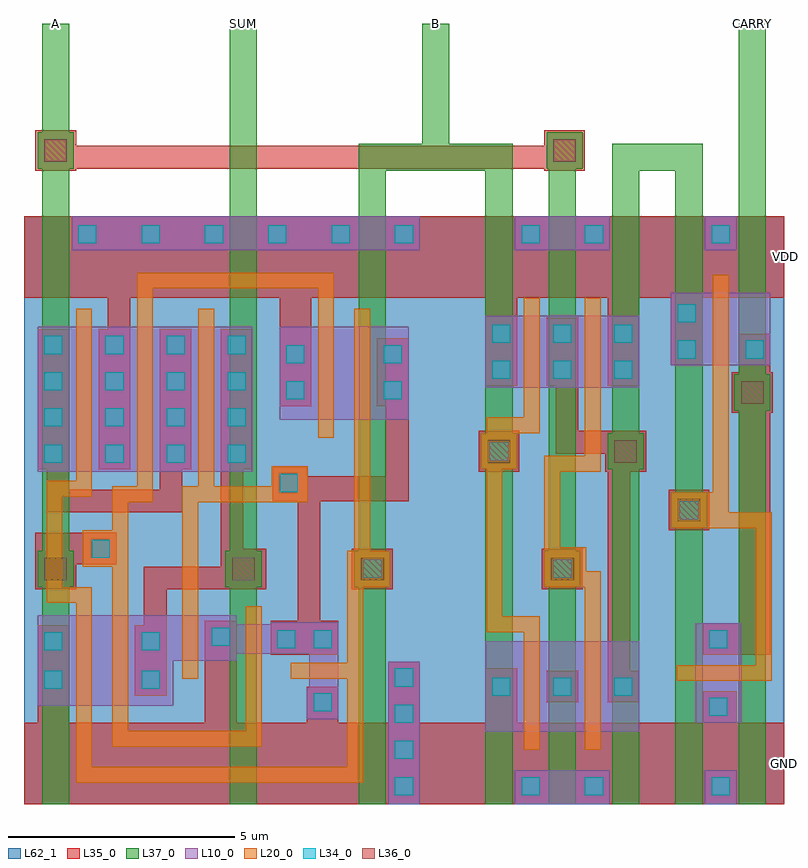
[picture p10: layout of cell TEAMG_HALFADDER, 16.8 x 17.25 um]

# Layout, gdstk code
import gdstk
lib = gdstk.Library(unit=1e-6, precision=1e-09)
def R(c, l, rs):  # rectangles x0, y0, x1, y1
    for r in rs: c.add(gdstk.rectangle(r[:2], r[2:], *l))
def A(c, l, x, y, w, h, nx, ny, dx, dy):  # array of equal rectangles
    R(c, l, [(x+i*dx, y+j*dy, x+i*dx+w, y+j*dy+h) for i in range(nx) for j in range(ny)])
def P(c, l, *ps):  # polygons
    for p in ps: c.add(gdstk.Polygon(p, *l))
L10_0 = (10, 0)
L20_0 = (20, 0)
L34_0 = (34, 0)
L35_0 = (35, 0)
L36_0 = (36, 0)
L37_0 = (37, 0)
L62_1 = (62, 1)

via1 = lib.new_cell('VIA1')
R(via1, L35_0, [(-0.45,-0.45,0.45,0.45)])
R(via1, L36_0, [(-0.25,-0.25,0.25,0.25)])
R(via1, L37_0, [(-0.4,-0.4,0.4,0.4)])

inv1_h = lib.new_cell('INV1_H')
R(inv1_h, L10_0, [(1.05,0,1.75,0.75), (0.85,1.8,1.85,4), (0.3,9.7,2.5,11.3), (1.05,12.25,1.75,13)])
P(inv1_h, L20_0, [(2.525,6.45),(1.575,6.45),(1.575,11.7),(1.225,11.7),(1.225,6.9),(0.3,6.9),(0.3,6.1),(2.175,6.1),(2.175,3.075),(0.425,3.075),(0.425,2.725),(2.525,2.725)])
R(inv1_h, L34_0, [(1.2,0.2,1.6,0.6), (1.15,1.95,1.55,2.35), (1.15,3.45,1.55,3.85), (0.5,6.3,0.9,6.7), (0.45,9.85,0.85,10.25), (1.95,9.85,2.35,10.25), (0.45,10.65,0.85,11.05), (1.2,12.4,1.6,12.8)])
R(inv1_h, L35_0, [(0,0,2.8,1.8), (0.25,6.05,1.15,6.95), (0.25,6.05,1.15,6.95), (1.65,8.65,2.55,9.55), (0,11.2,2.8,13)])
P(inv1_h, L35_0, [(2.8,1.8),(1.75,1.8),(1.75,2.5),(1,2.5),(1,1.8),(0,1.8),(0,0),(2.8,0)],
  [(2.55,9.55),(2.5,9.55),(2.5,10.4),(1.8,10.4),(1.8,9.55),(1.65,9.55),(1.65,8.65),(1.8,8.65),(1.8,4),(1,4),(1,3.3),(2.5,3.3),(2.5,8.65),(2.55,8.65)],
  [(2.8,13),(0,13),(0,11.2),(0.3,11.2),(0.3,9.7),(1,9.7),(1,11.2),(2.8,11.2)])
R(inv1_h, L36_0, [(0.45,6.25,0.95,6.75), (1.85,8.85,2.35,9.35)])
R(inv1_h, L37_0, [(0.4,0,1,13), (1.8,0,2.4,13), (0.3,6.1,1.1,6.9), (1.7,8.7,2.5,9.5)])
R(inv1_h, L62_1, [(0,0,2.8,13)])
inv1_h.add(gdstk.Label('INV1', (1.4,9.5), layer=61, texttype=2))
inv1_h.add(gdstk.Label('A', (0.7,13), layer=37, texttype=0))
inv1_h.add(gdstk.Label('Q', (2.1,13), layer=37, texttype=0))
inv1_h.add(gdstk.Label('A', (0.7,0), layer=37, texttype=0))
inv1_h.add(gdstk.Label('Q', (2.1,0), layer=37, texttype=0))
inv1_h.add(gdstk.Label('VDD', (0,12.1), layer=35, texttype=0))
inv1_h.add(gdstk.Label('GND', (0,0.9), layer=35, texttype=0))
inv1_h.add(gdstk.Label('VDD', (2.8,12.1), layer=35, texttype=0))
inv1_h.add(gdstk.Label('GND', (2.8,0.9), layer=35, texttype=0))

xor21_h = lib.new_cell('XOR21_H')
R(xor21_h, L10_0, [(8.05,0,8.75,3.15), (0.3,7.35,5.05,10.55), (5.65,8.5,8.5,10.55), (1.05,12.25,8.75,13)])
P(xor21_h, L10_0, [(6.95,4.025),(5.45,4.025),(5.45,3.975),(4.7,3.975),(4.7,4.175),(0.3,4.175),(0.3,2.175),(3.3,2.175),(3.3,3.175),(4.7,3.175),(4.7,3.325),(6.3,3.325),(6.3,2.575),(6.25,2.575),(6.25,1.875),(6.95,1.875)])
P(xor21_h, L20_0, [(6.85,11.75),(2.5,11.75),(2.5,7.025),(1.95,7.025),(1.95,6.05),(1.3,6.05),(1.3,5.25),(1.95,5.25),(1.95,1.275),(5.25,1.275),(5.25,4.375),(4.9,4.375),(4.9,1.625),(2.3,1.625),(2.3,6.675),(2.85,6.675),(2.85,11.4),(6.5,11.4),(6.5,8.1),(6.85,8.1)],
  [(8.1,5.6),(7.65,5.6),(7.65,10.95),(7.3,10.95),(7.3,5.6),(7.15,5.6),(7.15,3.125),(5.9,3.125),(5.9,2.775),(7.15,2.775),(7.15,0.825),(1.5,0.825),(1.5,4.8),(0.85,4.8),(0.85,6.8),(1.5,6.8),(1.5,10.95),(1.15,10.95),(1.15,7.15),(0.5,7.15),(0.5,4.45),(1.15,4.45),(1.15,0.475),(7.5,0.475),(7.5,4.8),(8.1,4.8)],
  [(6.275,7.475),(5.475,7.475),(5.475,7.025),(4.2,7.025),(4.2,10.95),(3.85,10.95),(3.85,7.025),(3.5,7.025),(3.5,2.775),(3.85,2.775),(3.85,6.675),(6.275,6.675)])
A(xor21_h, L34_0, 8.2, 0.2, 0.4, 0.4, 1, 4, 0, 0.8)
A(xor21_h, L34_0, 0.45, 7.55, 0.4, 0.4, 4, 4, 1.35, 0.8)
A(xor21_h, L34_0, 1.2, 12.4, 0.4, 0.4, 6, 1, 1.4, 0)
R(xor21_h, L34_0, [(6.4,2.05,6.8,2.45), (0.45,2.55,0.85,2.95), (2.6,2.55,3,2.95), (0.45,3.4,0.85,3.8), (2.6,3.4,3,3.8), (5.6,3.45,6,3.85), (6.4,3.45,6.8,3.85), (4.15,3.5,4.55,3.9), (7.5,5,7.9,5.4), (1.5,5.45,1.9,5.85), (5.65,6.9,6.05,7.3), (5.8,8.95,6.2,9.35), (7.95,8.95,8.35,9.35), (5.8,9.75,6.2,10.15), (7.95,9.75,8.35,10.15)])
R(xor21_h, L35_0, [(0.25,4.75,1.15,5.65), (4.4,4.75,5.3,5.65), (7.25,4.75,8.15,5.65), (7.25,4.75,8.15,5.65)])
P(xor21_h, L35_0, [(5.35,5.65),(4.85,5.65),(4.85,7.4),(5.05,7.4),(5.05,10.5),(4.35,10.5),(4.35,5.25),(2.65,5.25),(2.65,3.95),(2.45,3.95),(2.45,2.4),(3.15,2.4),(3.15,4.75),(5.35,4.75)],
  [(9.8,1.8),(8.75,1.8),(8.75,3.15),(8.05,3.15),(8.05,1.8),(6.95,1.8),(6.95,2.6),(6.25,2.6),(6.25,1.8),(4.7,1.8),(4.7,4.05),(4,4.05),(4,1.8),(1,1.8),(1,3.95),(0.3,3.95),(0.3,1.8),(0,1.8),(0,0),(9.8,0)],
  [(8.5,10.3),(7.8,10.3),(7.8,8.8),(8,8.8),(8,7.25),(6.25,7.25),(6.25,7.45),(5.5,7.45),(5.5,6.7),(6.05,6.7),(6.05,4.05),(5.45,4.05),(5.45,3.3),(6.95,3.3),(6.95,4.05),(6.55,4.05),(6.55,6.7),(8.5,6.7)],
  [(9.8,13),(0,13),(0,11.2),(1.85,11.2),(1.85,10.5),(1.65,10.5),(1.65,7.4),(2.35,7.4),(2.35,11.2),(5.65,11.2),(5.65,8.8),(6.35,8.8),(6.35,11.2),(9.8,11.2)],
  [(3.7,10.5),(3,10.5),(3,6.95),(1,6.95),(1,10.5),(0.3,10.5),(0.3,7.4),(0.5,7.4),(0.5,6.45),(3.5,6.45),(3.5,7.4),(3.7,7.4)],
  [(2.05,6),(0.25,6),(0.25,4.75),(1.15,4.75),(1.15,5.3),(2.05,5.3)])
R(xor21_h, L36_0, [(0.45,4.95,0.95,5.45), (4.6,4.95,5.1,5.45), (7.45,4.95,7.95,5.45)])
R(xor21_h, L37_0, [(0.4,0,1,13), (4.55,0,5.15,13), (7.4,0,8,13), (0.3,4.8,1.1,5.6), (4.45,4.8,5.25,5.6), (7.3,4.8,8.1,5.6)])
R(xor21_h, L62_1, [(0,0,9.8,13)])
xor21_h.add(gdstk.Label('XOR21', (4.9,9.5), layer=61, texttype=2))
xor21_h.add(gdstk.Label('A', (0.7,13), layer=37, texttype=0))
xor21_h.add(gdstk.Label('Q', (4.85,13), layer=37, texttype=0))
xor21_h.add(gdstk.Label('B', (7.7,13), layer=37, texttype=0))
xor21_h.add(gdstk.Label('GND', (9.8,0.9), layer=35, texttype=0))
xor21_h.add(gdstk.Label('GND', (0,0.9), layer=35, texttype=0))
xor21_h.add(gdstk.Label('VDD', (9.8,12.1), layer=35, texttype=0))
xor21_h.add(gdstk.Label('VDD', (0,12.1), layer=35, texttype=0))
xor21_h.add(gdstk.Label('A', (0.7,0), layer=37, texttype=0))
xor21_h.add(gdstk.Label('Q', (4.85,0), layer=37, texttype=0))
xor21_h.add(gdstk.Label('B', (7.7,0), layer=37, texttype=0))

nand21_h = lib.new_cell('NAND21_H')
R(nand21_h, L10_0, [(1.05,0,3.15,0.75), (0.4,1.6,3.8,3.6), (0.4,9.2,3.8,10.8), (1.05,12.25,3.15,13)])
P(nand21_h, L20_0, [(2.95,5.15),(2.625,5.15),(2.625,5.675),(2.05,5.675),(2.05,7.35),(2.95,7.35),(2.95,11.2),(2.6,11.2),(2.6,7.7),(1.7,7.7),(1.7,4.8),(2.6,4.8),(2.6,1.2),(2.95,1.2)],
  [(1.6,4.15),(0.775,4.15),(0.775,7.4),(1.1,7.4),(1.1,8.2),(1.6,8.2),(1.6,11.2),(1.25,11.2),(1.25,8.55),(0.425,8.55),(0.425,8.2),(0.3,8.2),(0.3,7.4),(0.425,7.4),(0.425,3.8),(1.25,3.8),(1.25,1.2),(1.6,1.2)])
A(nand21_h, L34_0, 0.55, 2.4, 0.4, 0.4, 3, 2, 1.35, 7)
A(nand21_h, L34_0, 0.55, 10.2, 0.4, 0.4, 3, 1, 1.35, 0)
R(nand21_h, L34_0, [(1.2,0.2,1.6,0.6), (2.6,0.2,3,0.6), (1.9,5,2.3,5.4), (0.5,7.6,0.9,8), (1.2,12.4,1.6,12.8), (2.6,12.4,3,12.8)])
R(nand21_h, L35_0, [(1.75,2.25,2.45,2.95), (1.65,4.75,2.55,5.65), (1.65,4.75,2.55,5.65), (0.25,7.35,1.15,8.25), (0.25,7.35,1.15,8.25), (3.05,7.35,3.95,8.25)])
P(nand21_h, L35_0, [(4.2,1.8),(1.1,1.8),(1.1,3),(0.4,3),(0.4,1.8),(0,1.8),(0,0),(4.2,0)],
  [(4.2,13),(0,13),(0,11.2),(0.4,11.2),(0.4,9.25),(1.1,9.25),(1.1,11.2),(3.1,11.2),(3.1,9.25),(3.8,9.25),(3.8,11.2),(4.2,11.2)],
  [(3.95,8.25),(2.45,8.25),(2.45,10.75),(1.75,10.75),(1.75,9.25),(1.95,9.25),(1.95,7.75),(3.05,7.75),(3.05,7.35),(3.1,7.35),(3.1,2.25),(3.8,2.25),(3.8,2.95),(3.6,2.95),(3.6,7.35),(3.95,7.35)])
R(nand21_h, L36_0, [(1.85,4.95,2.35,5.45), (0.45,7.55,0.95,8.05), (3.25,7.55,3.75,8.05)])
A(nand21_h, L37_0, 0.4, 0, 0.6, 13, 3, 1, 1.4, 0)
R(nand21_h, L37_0, [(1.7,4.8,2.5,5.6), (0.3,7.4,1.1,8.2), (3.1,7.4,3.9,8.2)])
R(nand21_h, L62_1, [(0,0,4.2,13)])
nand21_h.add(gdstk.Label('NAND21', (2.1,9.5), layer=61, texttype=2))
nand21_h.add(gdstk.Label('B', (0.7,13), layer=37, texttype=0))
nand21_h.add(gdstk.Label('Q', (3.5,13), layer=37, texttype=0))
nand21_h.add(gdstk.Label('A', (2.1,13), layer=37, texttype=0))
nand21_h.add(gdstk.Label('GND', (4.2,0.9), layer=35, texttype=0))
nand21_h.add(gdstk.Label('GND', (0,0.9), layer=35, texttype=0))
nand21_h.add(gdstk.Label('VDD', (4.2,12.1), layer=35, texttype=0))
nand21_h.add(gdstk.Label('VDD', (0,12.1), layer=35, texttype=0))
nand21_h.add(gdstk.Label('B', (0.7,0), layer=37, texttype=0))
nand21_h.add(gdstk.Label('Q', (3.5,0), layer=37, texttype=0))
nand21_h.add(gdstk.Label('A', (2.1,0), layer=37, texttype=0))

teamg_halfadder = lib.new_cell('TEAMG_HALFADDER')
R(teamg_halfadder, L35_0, [(1.05,17.25,16.15,19.05), (1.05,28.45,16.15,30.25)])
teamg_halfadder.add(gdstk.FlexPath([(13.1,31.55),(1.45,31.55)], 0.5, ends="flush", simple_path=True, layer=35, datatype=0))  # L35_0
teamg_halfadder.add(gdstk.FlexPath([(13.25,31.55),(12.65,31.55)], 0.5, ends="flush", simple_path=True, layer=35, datatype=0))  # L35_0
teamg_halfadder.add(gdstk.FlexPath([(11.55,30.25),(11.55,31.55),(8.75,31.55),(8.75,30.25)], 0.6, ends="flush", simple_path=True, layer=37, datatype=0))  # L37_0
teamg_halfadder.add(gdstk.FlexPath([(15.75,30.25),(15.75,31.55),(14.35,31.55),(14.35,30.25)], 0.6, ends="flush", simple_path=True, layer=37, datatype=0))  # L37_0
teamg_halfadder.add(gdstk.FlexPath([(1.75,34.5),(1.75,31.55)], 0.6, ends="flush", simple_path=True, layer=37, datatype=0))  # L37_0
teamg_halfadder.add(gdstk.FlexPath([(10.15,34.5),(10.15,31.5)], 0.6, ends="flush", simple_path=True, layer=37, datatype=0))  # L37_0
teamg_halfadder.add(gdstk.FlexPath([(5.9,34.5),(5.9,30.25)], 0.6, ends="flush", simple_path=True, layer=37, datatype=0))  # L37_0
teamg_halfadder.add(gdstk.FlexPath([(17.15,34.5),(17.15,30.25)], 0.6, ends="flush", simple_path=True, layer=37, datatype=0))  # L37_0
teamg_halfadder.add(gdstk.FlexPath([(12.95,31.8),(12.95,30.25)], 0.6, ends="flush", simple_path=True, layer=37, datatype=0))  # L37_0
teamg_halfadder.add(gdstk.FlexPath([(1.75,31.8),(1.75,30.25)], 0.6, ends="flush", simple_path=True, layer=37, datatype=0))  # L37_0
teamg_halfadder.add(gdstk.Reference(via1, (13,31.7)))
teamg_halfadder.add(gdstk.Reference(via1, (1.75,31.7)))
teamg_halfadder.add(gdstk.Reference(inv1_h, (15.05,17.25)))
teamg_halfadder.add(gdstk.Reference(xor21_h, (1.05,17.25)))
teamg_halfadder.add(gdstk.Reference(nand21_h, (10.85,17.25)))
teamg_halfadder.add(gdstk.Label('A', (1.75,34.5), layer=37, texttype=0))
teamg_halfadder.add(gdstk.Label('SUM', (5.9,34.5), layer=37, texttype=0))
teamg_halfadder.add(gdstk.Label('B', (10.15,34.5), layer=37, texttype=0))
teamg_halfadder.add(gdstk.Label('CARRY', (17.15,34.5), layer=37, texttype=0))
teamg_halfadder.add(gdstk.Label('GND', (17.85,18.15), layer=35, texttype=0))
teamg_halfadder.add(gdstk.Label('VDD', (17.875,29.35), layer=35, texttype=0))

lib.write_gds('TEAMG_HALFADDER.gds')
